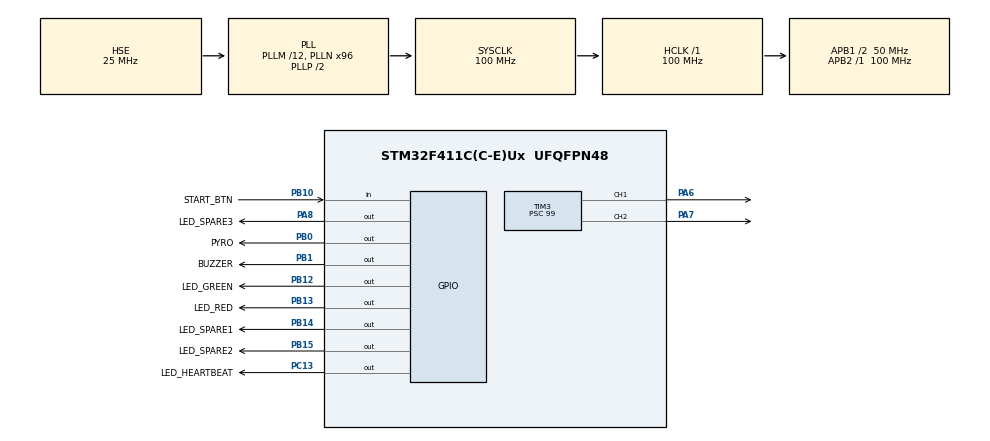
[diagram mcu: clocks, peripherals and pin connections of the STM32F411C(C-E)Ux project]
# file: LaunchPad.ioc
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Mcu.Family=STM32F4
Mcu.Name=STM32F411C(C-E)Ux
Mcu.Package=UFQFPN48
NVIC.PriorityGroup=NVIC_PRIORITYGROUP_4
PA13.Mode=Serial_Wire
PA13.Signal=SYS_JTMS-SWDIO
PA14.Mode=Serial_Wire
PA14.Signal=SYS_JTCK-SWCLK
PA6.Signal=S_TIM3_CH1
PA7.Signal=S_TIM3_CH2
PA8.GPIO_Label=LED_SPARE3
PA8.Signal=GPIO_Output
PB0.GPIO_Label=PYRO
PB0.GPIO_PuPd=GPIO_PULLDOWN
PB0.Signal=GPIO_Output
PB1.GPIO_Label=BUZZER
PB1.GPIO_PuPd=GPIO_PULLDOWN
PB1.Signal=GPIO_Output
PB10.GPIO_Label=START_BTN
PB10.GPIO_PuPd=GPIO_PULLUP
PB10.Signal=GPIO_Input
PB12.GPIO_Label=LED_GREEN
PB12.Signal=GPIO_Output
PB13.GPIO_Label=LED_RED
PB13.Signal=GPIO_Output
PB14.GPIO_Label=LED_SPARE1
PB14.Signal=GPIO_Output
PB15.GPIO_Label=LED_SPARE2
PB15.Signal=GPIO_Output
PC13-ANTI_TAMP.GPIO_Label=LED_HEARTBEAT
PC13-ANTI_TAMP.PinState=GPIO_PIN_SET
PC13-ANTI_TAMP.Signal=GPIO_Output
PH0\ -\ OSC_IN.Mode=HSE-External-Oscillator
PH0\ -\ OSC_IN.Signal=RCC_OSC_IN
PH1\ -\ OSC_OUT.Mode=HSE-External-Oscillator
PH1\ -\ OSC_OUT.Signal=RCC_OSC_OUT
ProjectManager.HeapSize=0x200
ProjectManager.StackSize=0x400
ProjectManager.TargetToolchain=CMake
RCC.48MHZClocksFreq_Value=50000000
RCC.AHBFreq_Value=100000000
RCC.APB1CLKDivider=RCC_HCLK_DIV2
RCC.APB1Freq_Value=50000000
RCC.APB1TimFreq_Value=100000000
RCC.APB2Freq_Value=100000000
RCC.APB2TimFreq_Value=100000000
RCC.CortexFreq_Value=100000000
RCC.HCLKFreq_Value=100000000
RCC.HSE_VALUE=25000000
RCC.HSI_VALUE=16000000
RCC.LSE_VALUE=32768
RCC.PLLM=12
RCC.PLLN=96
RCC.PLLSourceVirtual=RCC_PLLSOURCE_HSE
RCC.SYSCLKFreq_VALUE=100000000
RCC.SYSCLKSource=RCC_SYSCLKSOURCE_PLLCLK
RCC.VCOOutputFreq_Value=200000000
SH.S_TIM3_CH1.0=TIM3_CH1,PWM Generation1 CH1
SH.S_TIM3_CH2.0=TIM3_CH2,PWM Generation2 CH2
TIM3.AutoReloadPreload=TIM_AUTORELOAD_PRELOAD_ENABLE
TIM3.Channel-PWM\ Generation1\ CH1=TIM_CHANNEL_1
TIM3.Channel-PWM\ Generation2\ CH2=TIM_CHANNEL_2
TIM3.Period=19999
TIM3.Prescaler=99
TIM3.Pulse-PWM\ Generation1\ CH1=1500
TIM3.Pulse-PWM\ Generation2\ CH2=1500
VP_TIM3_VS_ClockSourceINT.Mode=Internal
board=custom

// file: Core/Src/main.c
/* USER CODE BEGIN Header */
/**
  ******************************************************************************
  * @file           : main.c
  * @brief          : Main program body
  ******************************************************************************
  * @attention
  *
  * Copyright (c) 2026 STMicroelectronics.
  * All rights reserved.
  *
  * This software is licensed under terms that can be found in the LICENSE file
  * in the root directory of this software component.
  * If no LICENSE file comes with this software, it is provided AS-IS.
  *
  ******************************************************************************
  */
/* USER CODE END Header */
#include "main.h"
#include "tim.h"
#include "gpio.h"

/* USER CODE BEGIN Includes */
#include "pad_sm.h"
#include "button.h"
#include "servo.h"
/* USER CODE END Includes */

/* USER CODE BEGIN PD */
#define SERVO1_ENGAGED_US    900u  //placeholder values for now
#define SERVO1_RETRACTED_US  2000u
#define SERVO2_ENGAGED_US    2100u
#define SERVO2_RETRACTED_US  1000u
/* USER CODE END PD */

/* USER CODE BEGIN PV */
static pad_sm_t sm;
static button_t btn;
static servo_t servo1;
static servo_t servo2;
/* USER CODE END PV */

void SystemClock_Config(void);

int main(void)
{

  /* MCU Configuration--------------------------------------------------------*/

  /* Reset of all peripherals, Initializes the Flash interface and the Systick. */
  HAL_Init();

  /* Configure the system clock */
  SystemClock_Config();

  /* Initialize all configured peripherals */
  MX_GPIO_Init();
  MX_TIM3_Init();
  /* USER CODE BEGIN 2 */
  uint32_t now = HAL_GetTick();
  pad_sm_init(&sm, now);
  button_init(&btn, now);

  servo_init(&servo1, SERVO1_ENGAGED_US, SERVO1_RETRACTED_US, now);
  servo_init(&servo2, SERVO2_ENGAGED_US, SERVO2_RETRACTED_US, now);

  __HAL_TIM_SET_COMPARE(&htim3, TIM_CHANNEL_1, SERVO1_ENGAGED_US);
  __HAL_TIM_SET_COMPARE(&htim3, TIM_CHANNEL_2, SERVO2_ENGAGED_US);
  HAL_TIM_PWM_Start(&htim3, TIM_CHANNEL_1);
  HAL_TIM_PWM_Start(&htim3, TIM_CHANNEL_2);
  /* USER CODE END 2 */

  /* Infinite loop */
  while (1)
  {

    /* USER CODE BEGIN 3 */
    uint32_t now = HAL_GetTick();

    /* 1. Read the button (pull-up wiring: pressed = pin low) */
    bool pressed = (HAL_GPIO_ReadPin(START_BTN_GPIO_Port, START_BTN_Pin) == GPIO_PIN_RESET);
    btn_event_t ev = button_update(&btn, pressed, now);

    /* 2. Update the state machine */
    pad_sm_update(&sm, ev, now);

    /* 3. Ask what the hardware should be doing */
    pad_outputs_t out = pad_sm_outputs(&sm, now);

    /* 4. Apply it to the pins */
    HAL_GPIO_WritePin(LED_GREEN_GPIO_Port, LED_GREEN_Pin, out.led_green ? GPIO_PIN_SET : GPIO_PIN_RESET);
    HAL_GPIO_WritePin(LED_RED_GPIO_Port,   LED_RED_Pin,   out.led_red   ? GPIO_PIN_SET : GPIO_PIN_RESET);
    HAL_GPIO_WritePin(BUZZER_GPIO_Port,    BUZZER_Pin,    out.buzzer    ? GPIO_PIN_SET : GPIO_PIN_RESET);
    HAL_GPIO_WritePin(PYRO_GPIO_Port,      PYRO_Pin,      out.pyro      ? GPIO_PIN_SET : GPIO_PIN_RESET);

    __HAL_TIM_SET_COMPARE(&htim3, TIM_CHANNEL_1, servo_update(&servo1, out.servos_retracted, now));
    __HAL_TIM_SET_COMPARE(&htim3, TIM_CHANNEL_2, servo_update(&servo2, out.servos_retracted, now));

    /* 5. Heartbeat: toggles every 500 ms */
    HAL_GPIO_WritePin(LED_HEARTBEAT_GPIO_Port, LED_HEARTBEAT_Pin,
    ((now / 500u) % 2u) ? GPIO_PIN_SET : GPIO_PIN_RESET);
  }
  /* USER CODE END 3 */
}

void SystemClock_Config(void)
{
  RCC_OscInitTypeDef RCC_OscInitStruct = {0};
  RCC_ClkInitTypeDef RCC_ClkInitStruct = {0};

  /** Configure the main internal regulator output voltage
  */
  __HAL_RCC_PWR_CLK_ENABLE();
  __HAL_PWR_VOLTAGESCALING_CONFIG(PWR_REGULATOR_VOLTAGE_SCALE1);

  /** Initializes the RCC Oscillators according to the specified parameters
  * in the RCC_OscInitTypeDef structure.
  */
  RCC_OscInitStruct.OscillatorType = RCC_OSCILLATORTYPE_HSE;
  RCC_OscInitStruct.HSEState = RCC_HSE_ON;
  RCC_OscInitStruct.PLL.PLLState = RCC_PLL_ON;
  RCC_OscInitStruct.PLL.PLLSource = RCC_PLLSOURCE_HSE;
  RCC_OscInitStruct.PLL.PLLM = 12;
  RCC_OscInitStruct.PLL.PLLN = 96;
  RCC_OscInitStruct.PLL.PLLP = RCC_PLLP_DIV2;
  RCC_OscInitStruct.PLL.PLLQ = 4;
  if (HAL_RCC_OscConfig(&RCC_OscInitStruct) != HAL_OK)
  {
    Error_Handler();
  }

  /** Initializes the CPU, AHB and APB buses clocks
  */
  RCC_ClkInitStruct.ClockType = RCC_CLOCKTYPE_HCLK|RCC_CLOCKTYPE_SYSCLK
                              |RCC_CLOCKTYPE_PCLK1|RCC_CLOCKTYPE_PCLK2;
  RCC_ClkInitStruct.SYSCLKSource = RCC_SYSCLKSOURCE_PLLCLK;
  RCC_ClkInitStruct.AHBCLKDivider = RCC_SYSCLK_DIV1;
  RCC_ClkInitStruct.APB1CLKDivider = RCC_HCLK_DIV2;
  RCC_ClkInitStruct.APB2CLKDivider = RCC_HCLK_DIV1;

  if (HAL_RCC_ClockConfig(&RCC_ClkInitStruct, FLASH_LATENCY_3) != HAL_OK)
  {
    Error_Handler();
  }
}

void Error_Handler(void)
{
  __disable_irq();
  while (1)
  {
  }
}
